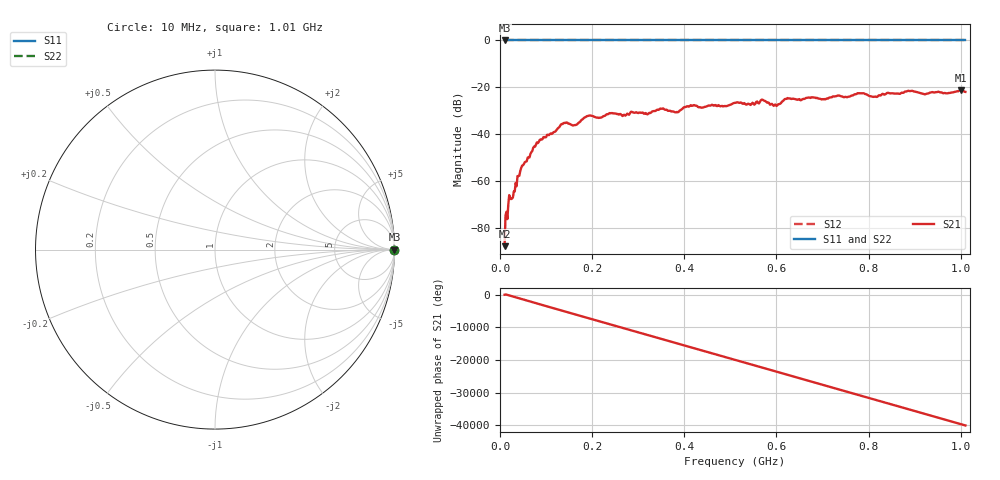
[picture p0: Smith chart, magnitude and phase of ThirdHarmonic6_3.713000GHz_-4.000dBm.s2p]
! 8/17/2025 12:38:46 PM
! C:\ANRITSUVNA\TEMP\TEMP.S2P
! CHANNEL.1
! TR.MEASUREMENT
! RAW.DATA
! RF.CORRECTION.OFF
! AVERAGING.OFF
! IF.BANDWIDTH: 5KHZ
! SWEEPTYPE:  FREQ.SWEEP(Linear)
! Reference Plane Port Info
! PORT:  PORT1  PORT2
! DISTANCE:  0  m  0  m
! TIME:  0  s  0  s
! PHASE.OFFSET:  0  deg.  0  deg.
! LOSS:  0  dB  0  dB
! REF.LOSS:  0  dB  0  dB
! REF.FREQ:  0  Hz  0  Hz
! Power Info
! POWER:  -20  dBm  -20  dBm
! EFF.POWER:  -20  dBm  -20  dBm
! SOURCE.ATTEN:  0  dB  0  dB
! TEST.ATTEN:  0  dB  0  dB
# GHZ S RI R 50.0
! FREQ.GHZ  S11RE  S11IM  S21RE  S21IM  S12RE  S12IM  S22RE  S22IM
!; PortSelection: Port_12
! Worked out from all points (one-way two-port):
!   501 points, 10 MHz to 1.01 GHz, reference 50 ohm
!   highest |S21| = -21.23 dB at 1 GHz (marker M1); lowest = -87.8 dB at 10 MHz (marker M2)
!   lowest |S11| = 0.0 dB at 10 MHz (marker M3)
!   |S11| at or under -10 dB: nowhere
!   |S22| runs from 0.0 to 0.0 dB; largest |S21 - S12| = 1.1
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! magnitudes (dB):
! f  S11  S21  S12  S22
! 10 MHz  0.0  -87.8  0.0  0.0
! 22 MHz  0.0  -67.3  0.0  0.0
! 28 MHz  0.0  -67.0  0.0  0.0
! 42 MHz  0.0  -57.7  0.0  0.0
! 76 MHz  0.0  -45.4  0.0  0.0
! 136 MHz  0.0  -35.7  0.0  0.0
! 162 MHz  0.0  -36.1  0.0  0.0
! 178 MHz  0.0  -33.8  0.0  0.0
! 192 MHz  0.0  -32.2  0.0  0.0
! 318 MHz  0.0  -31.3  0.0  0.0
! 344 MHz  0.0  -29.7  0.0  0.0
! 384 MHz  0.0  -30.5  0.0  0.0
! 416 MHz  0.0  -27.9  0.0  0.0
! 510 MHz  0.0  -26.6  0.0  0.0
! 570 MHz  0.0  -25.3  0.0  0.0
! 598 MHz  0.0  -27.4  0.0  0.0
! 622 MHz  0.0  -24.9  0.0  0.0
! 678 MHz  0.0  -24.3  0.0  0.0
! 814 MHz  0.0  -23.9  0.0  0.0
! 844 MHz  0.0  -22.5  0.0  0.0
! 1 GHz  0.0  -21.2  0.0  0.0
! 1.01 GHz  0.0  -22.0  0.0  0.0
